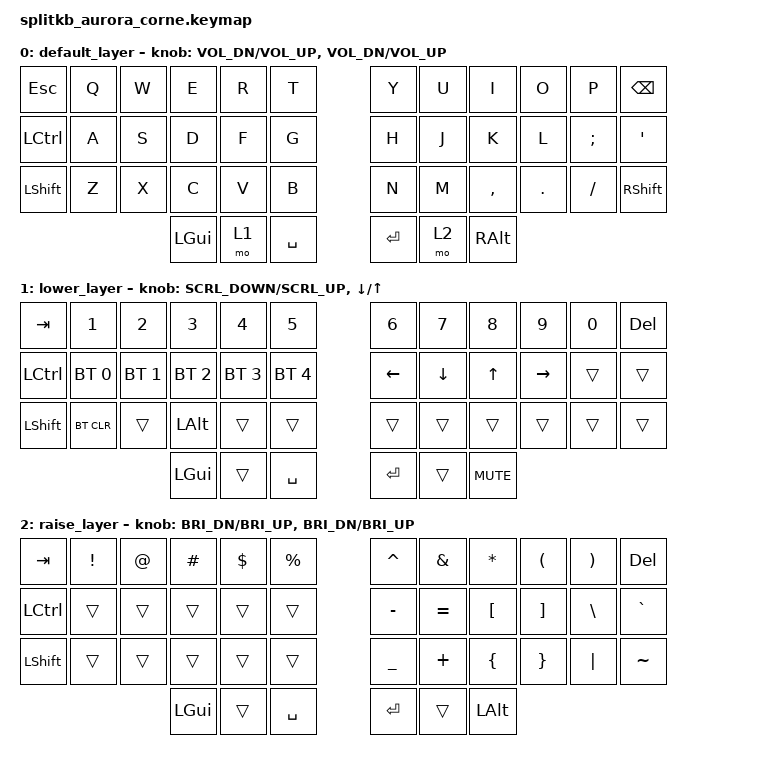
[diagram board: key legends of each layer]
/*
 * Copyright (c) 2020 The ZMK Contributors
 *
 * SPDX-License-Identifier: MIT
 */

#include <behaviors.dtsi>
#include <dt-bindings/zmk/keys.h>
#include <dt-bindings/zmk/bt.h>
#include <dt-bindings/zmk/pointing.h>

/ {

        keymap {
                compatible = "zmk,keymap";

                default_layer {
// -----------------------------------------------------------------------------------------
// |  ESC |  Q  |  W  |  E  |  R  |  T  |   |  Y  |  U   |  I  |  O  |  P  | BSPC |
// | CTRL |  A  |  S  |  D  |  F  |  G  |   |  H  |  J   |  K  |  L  |  ;  |  '   |
// | SHFT |  Z  |  X  |  C  |  V  |  B  |   |  N  |  M   |  ,  |  .  |  /  | SHFT |
//                    | GUI | LWR | SPC |   | ENT | RSE  | ALT |

                        bindings = <
   &kp ESC   &kp Q &kp W &kp E &kp R &kp T   &kp Y &kp U  &kp I     &kp O   &kp P    &kp BSPC
   &kp LCTRL &kp A &kp S &kp D &kp F &kp G   &kp H &kp J  &kp K     &kp L   &kp SEMI &kp SQT
   &kp LSHFT &kp Z &kp X &kp C &kp V &kp B   &kp N &kp M  &kp COMMA &kp DOT &kp FSLH &kp RSHFT
                  &kp LGUI &mo 1 &kp SPACE   &kp RET &mo 2 &kp RALT
                        >;

                        sensor-bindings = <&inc_dec_kp C_VOL_DN C_VOL_UP &inc_dec_kp C_VOL_DN C_VOL_UP>;
                };

                lower_layer {
// -----------------------------------------------------------------------------------------
// |  TAB |  1  |  2  |  3  |  4  |  5  |   |  6  |  7  |  8  |  9  |  0  |  DEL |
// | LCTRL| BT1 | BT2 | BT3 | BT4 | BT5 |   | LFT | DWN |  UP | RGT |     |      |
// | SHFT |BTCLR|     | ALT |     |     |   |     |     |     |     |     |      |
//                    | GUI |     | SPC |   | ENT |     | MUTE|

                        bindings = <
   &kp TAB    &kp N1       &kp N2       &kp N3       &kp N4       &kp N5         &kp N6   &kp N7   &kp N8 &kp N9    &kp N0 &kp DEL
   &kp LCTRL  &bt BT_SEL 0 &bt BT_SEL 1 &bt BT_SEL 2 &bt BT_SEL 3 &bt BT_SEL 4   &kp LEFT &kp DOWN &kp UP &kp RIGHT &trans &trans
   &kp LSHFT  &bt BT_CLR   &trans       &kp LALT     &trans       &trans         &trans   &trans   &trans &trans    &trans &trans
                                    &kp LGUI     &trans       &kp SPACE      &kp RET  &trans   &kp C_MUTE
                        >;

                        sensor-bindings = <&inc_dec_kp SCRL_DOWN SCRL_UP &inc_dec_kp DOWN UP>;
                };

                raise_layer {
// -----------------------------------------------------------------------------------------
// |  TAB |  !  |  @  |  #  |  $  |  %  |   |  ^  |  &  |  *  |  (  |  )  |  DEL |
// | CTRL |     |     |     |     |     |   |  -  |  =  |  [  |  ]  |  \  |  `   |
// | SHFT |     |     |     |     |     |   |  _  |  +  |  {  |  }  | "|" |  ~   |
//                    | GUI |     | SPC |   | ENT |     | ALT |

                        bindings = <
   &kp  TAB  &kp EXCL &kp AT &kp HASH &kp DLLR &kp PRCNT   &kp CARET &kp AMPS  &kp ASTRK &kp LPAR &kp RPAR &kp DEL
   &kp LCTRL &trans   &trans &trans   &trans   &trans      &kp MINUS &kp EQUAL &kp LBKT  &kp RBKT &kp BSLH &kp GRAVE
   &kp LSHFT &trans   &trans &trans   &trans   &trans      &kp UNDER &kp PLUS  &kp LBRC  &kp RBRC &kp PIPE &kp TILDE
                             &kp LGUI &trans   &kp SPACE   &kp RET   &trans    &kp LALT
                        >;

                        sensor-bindings = <&inc_dec_kp C_BRI_DN C_BRI_UP &inc_dec_kp C_BRI_DN C_BRI_UP>;
                };
        };
};
